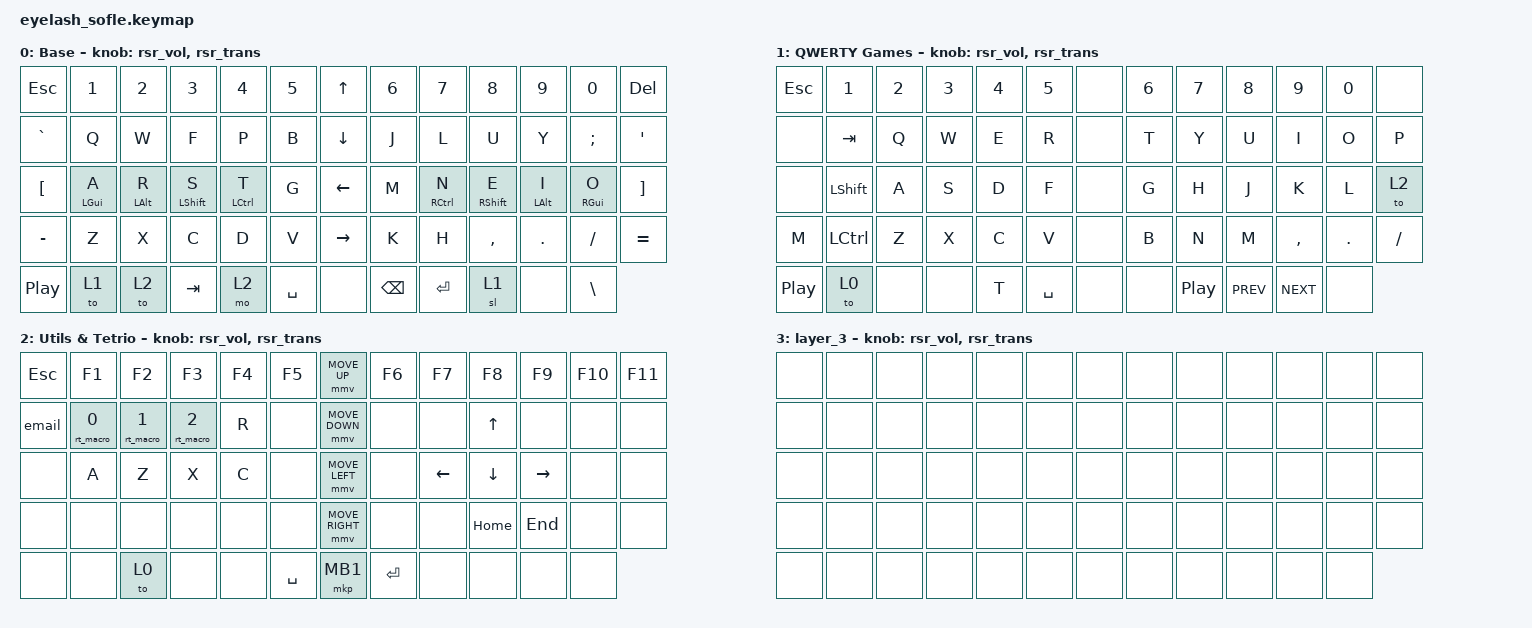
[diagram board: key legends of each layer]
#define ZMK_POINTING_DEFAULT_MOVE_VAL 1200

#include <input/processors.dtsi>
#include <zephyr/dt-bindings/input/input-event-codes.h>
#include <behaviors.dtsi>
#include <dt-bindings/zmk/bt.h>
#include <dt-bindings/zmk/keys.h>
#include <dt-bindings/zmk/outputs.h>
#include <dt-bindings/zmk/pointing.h>
#include <dt-bindings/zmk/rgb.h>
#include <behaviors/runtime-sensor-rotate.dtsi>

/ {
    zip_scroll_scaler: zip_scroll_scaler {
        compatible = "zmk,input-processor-scaler";
        #input-processor-cells = <2>;
        type = <INPUT_EV_REL>;
        codes = <INPUT_REL_WHEEL INPUT_REL_HWHEEL>;
        track-remainders;
    };
};

&mmv_input_listener { input-processors = <&zip_xy_scaler 2 1>; };

&msc_input_listener { input-processors = <&zip_scroll_scaler 2 1>; };

&msc {
    acceleration-exponent = <0>;      // 0
    time-to-max-speed-ms = <0>;       // 300
    delay-ms = <0>;                   // 0
};

&mmv {
    time-to-max-speed-ms = <400>;
    acceleration-exponent = <1>;
};

&soft_off { hold-time-ms = <2000>; };

/ {
    behaviors {

        hm: homerow_mod {
            compatible = "zmk,behavior-hold-tap";
            #binding-cells = <2>;
            bindings = <&kp>, <&kp>;
            flavor = "balanced";
            tapping-term-ms = <220>;
            quick-tap-ms = <175>;
            require-prior-idle-ms = <100>;
        };
        rt_macro: rt_macro {
            compatible = "zmk,behavior-runtime-macro";
            #binding-cells = <1>;
            display-name = "Runtime Macro";
        };

        rsr_vol: rsr_vol {
            compatible = "zmk,behavior-runtime-sensor-rotate";
            #sensor-binding-cells = <0>;
            tap-ms = <5>;
            cw-binding = <&kp C_VOL_UP>;
            ccw-binding = <&kp C_VOL_DN>;
        };

        rsr_trans: rsr_trans {
            compatible = "zmk,behavior-runtime-sensor-rotate";
            #sensor-binding-cells = <0>;
            tap-ms = <0>;
        };
    };

    macros {
        email: email {
            compatible = "zmk,behavior-macro";
            #binding-cells = <0>;
            display-name = "Email";
            wait-ms = <10>;
            tap-ms = <10>;
            bindings = <&kp D &kp A &kp R &kp R &kp E &kp N &kp S &kp E &kp A &kp H &kp Y &kp O &kp N &kp G &kp L &kp I &kp A &kp N &kp G &kp AT &kp P &kp R &kp O &kp T &kp O &kp N &kp M &kp A &kp I &kp L &kp DOT &kp C &kp O &kp M>;
        };

        shift_MB3: shift_MB3 {
            compatible = "zmk,behavior-macro";
            #binding-cells = <0>;
            bindings =
                <&macro_press>,
                <&kp LEFT_SHIFT>,
                <&macro_press>,
                <&mkp MB3>,
                <&macro_pause_for_release>,
                <&macro_release>,
                <&mkp MB3 &kp LEFT_SHIFT>;

            label = "SHIFT_MB3";
        };
    };

    combos {
        compatible = "zmk,runtime-combos";

        softoff {
            bindings = <&soft_off>;
            key-positions = <14 28 40>;
        };

        // Runtime placeholders (key positions are fixed at build time): parked
        // on unused layer_3 doing nothing until assigned live with
        // `zmkrt combo set N binding ...` and `zmkrt combo set N layers ...`.
        combo_wf { key-positions = <15 16>; bindings = <&none>; layers = <3>; };
        combo_fp { key-positions = <16 17>; bindings = <&none>; layers = <3>; };
        combo_lu { key-positions = <21 22>; bindings = <&none>; layers = <3>; };
        combo_uy { key-positions = <22 23>; bindings = <&none>; layers = <3>; };
        combo_xc { key-positions = <41 42>; bindings = <&none>; layers = <3>; };
        combo_cd { key-positions = <42 43>; bindings = <&none>; layers = <3>; };
        combo_h_comma { key-positions = <47 48>; bindings = <&none>; layers = <3>; };
        combo_comma_dot { key-positions = <48 49>; bindings = <&none>; layers = <3>; };
    };

    keymap {
        compatible = "zmk,keymap";

        layer_0 {
            bindings = <
&kp ESC      &kp N1       &kp N2       &kp N3       &kp N4       &kp N5       &kp UP       &kp N6       &kp N7       &kp N8       &kp N9       &kp N0       &kp DEL
&kp GRAVE    &kp Q        &kp W        &kp F        &kp P        &kp B        &kp DOWN     &kp J        &kp L        &kp U        &kp Y        &kp SEMI     &kp APOS
&kp LBKT     &hm LGUI A   &hm LALT R   &hm LSHFT S  &hm LCTRL T  &kp G        &kp LEFT     &kp M        &hm RCTRL N  &hm RSHFT E  &hm LALT I   &hm RGUI O   &kp RBKT
&kp MINUS    &kp Z        &kp X        &kp C        &kp D        &kp V        &kp RIGHT    &kp K        &kp H        &kp COMMA    &kp DOT      &kp FSLH     &kp EQUAL
&kp C_PP     &to 1        &to 2        &kp TAB      &mo 2        &kp SPACE    &none        &kp BSPC     &kp RET      &sl 1        &none        &kp BSLH
            >;
            sensor-bindings = <&rsr_vol &rsr_trans>;
            display-name = "Base";
        };

        layer_1 {
            bindings = <
&kp ESC    &kp N1     &kp N2     &kp N3     &kp N4     &kp N5     &none      &kp N6     &kp N7     &kp N8     &kp N9     &kp N0     &none
&none      &kp TAB    &kp Q      &kp W      &kp E      &kp R      &none      &kp T      &kp Y      &kp U      &kp I      &kp O      &kp P
&none      &kp LSHFT  &kp A      &kp S      &kp D      &kp F      &none      &kp G      &kp H      &kp J      &kp K      &kp L      &to 2
&kp M      &kp LCTRL  &kp Z      &kp X      &kp C      &kp V      &none      &kp B      &kp N      &kp M      &kp COMMA  &kp DOT    &kp FSLH
&kp C_PP   &to 0      &none      &none      &kp T      &kp SPACE  &none      &none      &kp C_PP   &kp C_PREV &kp C_NEXT &none
            >;
            sensor-bindings = <&rsr_vol &rsr_trans>;
            display-name = "QWERTY Games";
        };

        layer_2 {
            bindings = <
&kp ESC          &kp F1           &kp F2           &kp F3           &kp F4           &kp F5           &mmv MOVE_UP     &kp F6           &kp F7           &kp F8           &kp F9           &kp F10          &kp F11
&email           &rt_macro 0      &rt_macro 1      &rt_macro 2      &kp R            &none            &mmv MOVE_DOWN   &none            &none            &kp UP           &none            &none            &none
&none            &kp A            &kp Z            &kp X            &kp C            &none            &mmv MOVE_LEFT   &none            &kp LEFT         &kp DOWN         &kp RIGHT        &none            &none
&none            &none            &none            &none            &none            &none            &mmv MOVE_RIGHT  &none            &none            &kp HOME         &kp END          &none            &none
&none            &none            &to 0            &none            &none            &kp SPACE        &mkp MB1         &kp RET          &none            &none            &none            &none
            >;
            sensor-bindings = <&rsr_vol &rsr_trans>;
            display-name = "Utils & Tetrio";
        };

        layer_3 {
            bindings = <
&none   &none   &none   &none   &none   &none   &none   &none   &none   &none   &none   &none   &none
&none   &none   &none   &none   &none   &none   &none   &none   &none   &none   &none   &none   &none
&none   &none   &none   &none   &none   &none   &none   &none   &none   &none   &none   &none   &none
&none   &none   &none   &none   &none   &none   &none   &none   &none   &none   &none   &none   &none
&none   &none   &none   &none   &none   &none   &none   &none   &none   &none   &none   &none
            >;
            sensor-bindings = <&rsr_vol &rsr_trans>;
            display-name = "layer_3";
        };
    };
};
